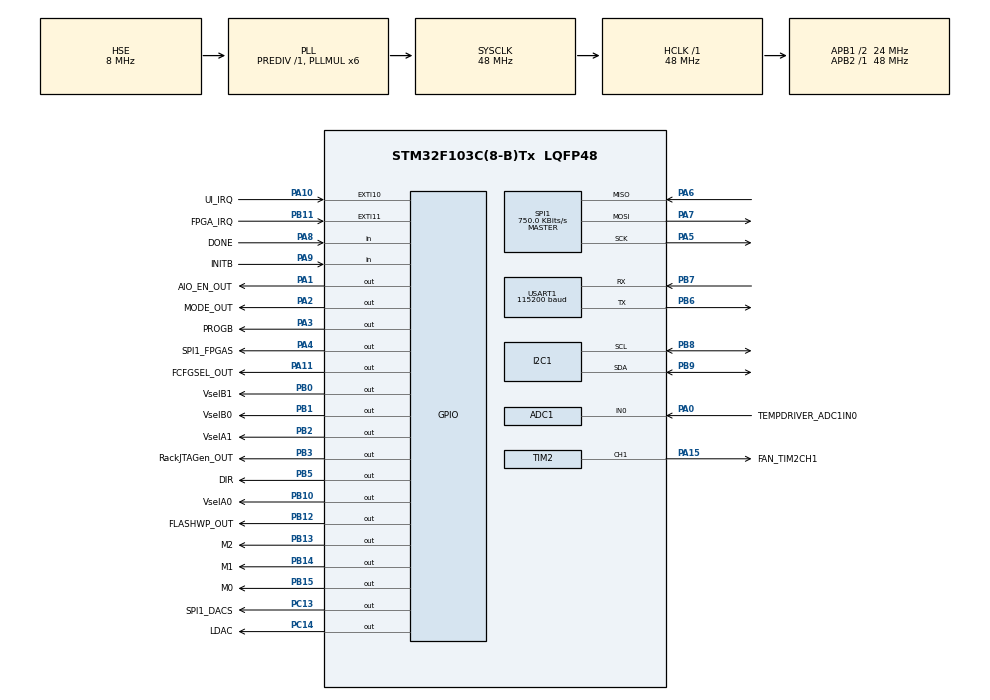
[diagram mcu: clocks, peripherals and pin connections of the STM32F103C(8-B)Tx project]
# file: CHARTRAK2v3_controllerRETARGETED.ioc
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ADC1.Channel-0\#ChannelRegularConversion=ADC_CHANNEL_0
ADC1.Channel-1\#ChannelRegularConversion=ADC_CHANNEL_TEMPSENSOR
ADC1.Channel-2\#ChannelRegularConversion=ADC_CHANNEL_VREFINT
ADC1.ExternalTrigConv=ADC_EXTERNALTRIGCONV_T3_TRGO
ADC1.NbrOfConversion=3
ADC1.NbrOfConversionFlag=1
ADC1.Rank-0\#ChannelRegularConversion=1
ADC1.Rank-1\#ChannelRegularConversion=2
ADC1.Rank-2\#ChannelRegularConversion=3
ADC1.SamplingTime-0\#ChannelRegularConversion=ADC_SAMPLETIME_239CYCLES_5
ADC1.SamplingTime-1\#ChannelRegularConversion=ADC_SAMPLETIME_239CYCLES_5
ADC1.SamplingTime-2\#ChannelRegularConversion=ADC_SAMPLETIME_239CYCLES_5
ADC1.master=1
Dma.ADC1.0.Direction=DMA_PERIPH_TO_MEMORY
Dma.ADC1.0.Instance=DMA1_Channel1
Dma.ADC1.0.MemDataAlignment=DMA_MDATAALIGN_WORD
Dma.ADC1.0.MemInc=DMA_MINC_ENABLE
Dma.ADC1.0.Mode=DMA_NORMAL
Dma.ADC1.0.PeriphDataAlignment=DMA_PDATAALIGN_WORD
Dma.ADC1.0.PeriphInc=DMA_PINC_DISABLE
Dma.ADC1.0.Priority=DMA_PRIORITY_LOW
Dma.Request0=ADC1
Dma.Request1=USART1_RX
Dma.USART1_RX.1.Direction=DMA_PERIPH_TO_MEMORY
Dma.USART1_RX.1.Instance=DMA1_Channel5
Dma.USART1_RX.1.MemDataAlignment=DMA_MDATAALIGN_BYTE
Dma.USART1_RX.1.MemInc=DMA_MINC_ENABLE
Dma.USART1_RX.1.Mode=DMA_NORMAL
Dma.USART1_RX.1.PeriphDataAlignment=DMA_PDATAALIGN_BYTE
Dma.USART1_RX.1.PeriphInc=DMA_PINC_DISABLE
Dma.USART1_RX.1.Priority=DMA_PRIORITY_LOW
Mcu.Family=STM32F1
Mcu.Name=STM32F103C(8-B)Tx
Mcu.Package=LQFP48
NVIC.ADC1_2_IRQn=true\:0\:0\:false\:false\:true\:true\:true\:true
NVIC.DMA1_Channel1_IRQn=true\:0\:0\:false\:false\:true\:false\:true\:true
NVIC.DMA1_Channel5_IRQn=true\:0\:0\:false\:false\:true\:false\:true\:true
NVIC.PriorityGroup=NVIC_PRIORITYGROUP_4
NVIC.TIM4_IRQn=true\:0\:0\:false\:false\:true\:true\:true\:true
NVIC.USART1_IRQn=true\:1\:0\:true\:false\:true\:true\:true\:true
PA0-WKUP.GPIO_Label=TEMPDRIVER_ADC1IN0
PA0-WKUP.Signal=ADCx_IN0
PA1.GPIO_Label=AIO_EN_OUT
PA1.Signal=GPIO_Output
PA10.GPIO_Label=UI_IRQ
PA10.Signal=GPXTI10
PA11.GPIO_Label=FCFGSEL_OUT
PA11.Signal=GPIO_Output
PA13.Mode=Serial_Wire
PA13.Signal=SYS_JTMS-SWDIO
PA14.Mode=Serial_Wire
PA14.Signal=SYS_JTCK-SWCLK
PA15.GPIO_Label=FAN_TIM2CH1
PA15.Signal=S_TIM2_CH1_ETR
PA2.GPIO_Label=MODE_OUT
PA2.Signal=GPIO_Output
PA3.GPIO_Label=PROGB
PA3.Signal=GPIO_Output
PA4.GPIO_Label=SPI1_FPGAS
PA4.Signal=GPIO_Output
PA5.Mode=Full_Duplex_Master
PA5.Signal=SPI1_SCK
PA6.Mode=Full_Duplex_Master
PA6.Signal=SPI1_MISO
PA7.Mode=Full_Duplex_Master
PA7.Signal=SPI1_MOSI
PA8.GPIO_Label=DONE
PA8.Signal=GPIO_Input
PA9.GPIO_Label=INITB
PA9.Signal=GPIO_Input
PB0.GPIO_Label=VselB1
PB0.Signal=GPIO_Output
PB1.GPIO_Label=VselB0
PB1.Signal=GPIO_Output
PB10.GPIO_Label=VselA0
PB10.Signal=GPIO_Output
PB11.GPIO_Label=FPGA_IRQ
PB11.Signal=GPXTI11
PB12.GPIO_Label=FLASHWP_OUT
PB12.Signal=GPIO_Output
PB13.GPIO_Label=M2
PB13.Signal=GPIO_Output
PB14.GPIO_Label=M1
PB14.Signal=GPIO_Output
PB15.GPIO_Label=M0
PB15.Signal=GPIO_Output
PB2.GPIO_Label=VselA1
PB2.Signal=GPIO_Output
PB3.GPIO_Label=RackJTAGen_OUT
PB3.Signal=GPIO_Output
PB5.GPIO_Label=DIR
PB5.Signal=GPIO_Output
PB6.Mode=Asynchronous
PB6.Signal=USART1_TX
PB7.Mode=Asynchronous
PB7.Signal=USART1_RX
PB8.Mode=I2C
PB8.Signal=I2C1_SCL
PB9.Mode=I2C
PB9.Signal=I2C1_SDA
PC13-TAMPER-RTC.GPIO_Label=SPI1_DACS
PC13-TAMPER-RTC.Signal=GPIO_Output
PC14-OSC32_IN.GPIO_Label=LDAC
PC14-OSC32_IN.Signal=GPIO_Output
PD0-OSC_IN.Mode=HSE-External-Oscillator
PD0-OSC_IN.Signal=RCC_OSC_IN
PD1-OSC_OUT.Mode=HSE-External-Oscillator
PD1-OSC_OUT.Signal=RCC_OSC_OUT
ProjectManager.HeapSize=0x200
ProjectManager.StackSize=0x400
ProjectManager.TargetToolchain=STM32CubeIDE
RCC.ADCPresc=RCC_ADCPCLK2_DIV8
RCC.AHBFreq_Value=48000000
RCC.APB1CLKDivider=RCC_HCLK_DIV2
RCC.APB1Freq_Value=24000000
RCC.APB1TimFreq_Value=48000000
RCC.APB2Freq_Value=48000000
RCC.APB2TimFreq_Value=48000000
RCC.HCLKFreq_Value=48000000
RCC.PLLMUL=RCC_PLL_MUL6
RCC.PLLSourceVirtual=RCC_PLLSOURCE_HSE
RCC.SYSCLKFreq_VALUE=48000000
RCC.SYSCLKSource=RCC_SYSCLKSOURCE_PLLCLK
RCC.USBFreq_Value=48000000
SH.ADCx_IN0.0=ADC1_IN0,IN0
SH.S_TIM2_CH1_ETR.0=TIM2_CH1,PWM Generation1 CH1
SPI1.BaudRatePrescaler=SPI_BAUDRATEPRESCALER_64
SPI1.CLKPolarity=SPI_POLARITY_HIGH
SPI1.CalculateBaudRate=750.0 KBits/s
SPI1.Direction=SPI_DIRECTION_2LINES
SPI1.FirstBit=SPI_FIRSTBIT_MSB
SPI1.Mode=SPI_MODE_MASTER
SPI1.VirtualType=VM_MASTER
TIM2.Channel-PWM\ Generation1\ CH1=TIM_CHANNEL_1
TIM3.Channel-PWM\ Generation4\ No\ Output=TIM_CHANNEL_4
TIM3.Period=100
TIM3.Prescaler=48000-1
TIM3.TIM_MasterOutputTrigger=TIM_TRGO_UPDATE
TIM4.Period=50-1
TIM4.Prescaler=48000-1
USART1.BaudRate=115200
USART1.VirtualMode=VM_ASYNC
VP_ADC1_TempSens_Input.Mode=IN-TempSens
VP_ADC1_Vref_Input.Mode=IN-Vrefint
VP_TIM3_VS_no_output4.Mode=PWM Generation4 No Output
VP_TIM4_VS_ClockSourceINT.Mode=Internal
board=custom

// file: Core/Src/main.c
/* USER CODE BEGIN Header */
/**
  ******************************************************************************
  * @file           : main.c
  * @brief          : Main program body
  ******************************************************************************
  * @attention
  *
  * Copyright (c) 2024 STMicroelectronics.
  * All rights reserved.
  *
  * This software is licensed under terms that can be found in the LICENSE file
  * in the root directory of this software component.
  * If no LICENSE file comes with this software, it is provided AS-IS.
  *
  ******************************************************************************
  */
/* USER CODE END Header */
#include "main.h"

ADC_HandleTypeDef hadc1;
DMA_HandleTypeDef hdma_adc1;

I2C_HandleTypeDef hi2c1;

SPI_HandleTypeDef hspi1;

TIM_HandleTypeDef htim2;
TIM_HandleTypeDef htim3;
TIM_HandleTypeDef htim4;

UART_HandleTypeDef huart1;
DMA_HandleTypeDef hdma_usart1_rx;

/* USER CODE BEGIN PV */
AWG_struct AWG1;
Noise_struct NOISE1;
CHT_struct CHT1;
LOLAconfig_struct LOLA1;
HFADC_struct HFADC1;
HFDAC_struct HFDAC1;
OSC_struct OSC1;

uint8_t RackID = 0;

uint32_t adc1_data[3] = {0};

float MCUtemp = 25.0, DriverTemp = 25.0;

#define MaxI2Cdevices	20
uint8_t I2Cdevices[MaxI2Cdevices] = {0};
/* USER CODE END PV */

void SystemClock_Config(void);
static void MX_GPIO_Init(void);
static void MX_DMA_Init(void);
static void MX_ADC1_Init(void);
static void MX_I2C1_Init(void);
static void MX_SPI1_Init(void);
static void MX_USART1_UART_Init(void);
static void MX_TIM4_Init(void);
static void MX_TIM2_Init(void);
static void MX_TIM3_Init(void);

int main(void)
{

  /* MCU Configuration--------------------------------------------------------*/

  /* Reset of all peripherals, Initializes the Flash interface and the Systick. */
  HAL_Init();

  /* Configure the system clock */
  SystemClock_Config();

  /* Initialize all configured peripherals */
  MX_GPIO_Init();
  MX_DMA_Init();
  MX_ADC1_Init();
  MX_I2C1_Init();
  MX_SPI1_Init();
  MX_USART1_UART_Init();
  MX_TIM4_Init();
  MX_TIM2_Init();
  MX_TIM3_Init();
  /* USER CODE BEGIN 2 */

  	//GPIO SETUP
    HAL_GPIO_WritePin(SPI1_DACS_GPIO_Port, SPI1_DACS_Pin, 0);
    HAL_GPIO_WritePin(SPI1_FPGAS_GPIO_Port, SPI1_FPGAS_Pin, 1);
    HAL_GPIO_WritePin(LDAC_GPIO_Port, LDAC_Pin, 0);
    HAL_GPIO_WritePin(DIR_GPIO_Port, DIR_Pin, 0);

    // ADC board expander setup
    TCA_Init(0b0100001, hi2c1);

    TCA_PinMode(P07, 0);
    TCA_PinMode(P11, 0);
    TCA_PinMode(P12, 0);

    TCA_WritePin(P07, 1);
    TCA_WritePin(P11, 0);
    TCA_WritePin(P12, 0);

    // High-speed DAC setup
    DACREF(0.0);
    DACOFFS(0.0);

    // High-speed ADC setup
    ADCREF(1.2);
    ADCOFFS(0.0);

    //HAL_TIM_Base_Start_IT(&htim4);

    // system functions setup
    Function SYSfunctions[] = { {.name = "ID", .run = SCPIC_SYS_ID},
    							{.name = "STATUS", .run = SCPIC_SYS_STATUS},
								{.name = "TEMP", .run = SCPIC_SYS_TEMP},
       							{.name = "RESET", .run = SCPIC_SYS_RESET},
   								{.name = "APPLY", .run = SCPIC_SYS_APPLY}	};

    Class SYSclass = { .name = "SYS", .functions = SYSfunctions, .functionsLength = 5 };
    addClass(&SYSclass, 0);

    // output functions setup
    Function OUTfunctions[] = { {.name = "MAXAMPU", .run = SCPIC_OUT_MAXAMPU},
    							{.name = "MAXAMPI", .run = SCPIC_OUT_MAXAMPI},
								{.name = "OFFSU", .run = SCPIC_OUT_OFFSU},
								{.name = "OFFSI", .run = SCPIC_OUT_OFFSI},
           						{.name = "MODE", .run = SCPIC_OUT_MODE},
								{.name = "EN", .run = SCPIC_OUT_EN} };

    Class OUTclass = { .name = "OUT", .functions = OUTfunctions, .functionsLength = 6 };
    addClass(&OUTclass, 0);

    //SCPI setup
    Function Lolafunctions[] = { {.name = "FID", .run = SCPIC_FID},
								 {.name = "INIT", .run = SCPIC_INIT}	};

    Class Lolaclass = { .name = "LOLA", .functions = Lolafunctions, .functionsLength = 2 };
    addClass(&Lolaclass, 0);

    // Digital Voltmeter setup
    Function DVMfunctions[] = { {.name = "RAW", .run = SCPIC_DVM_RAW},
    							{.name = "VAL", .run = SCPIC_DVM_VAL}	};

    Class DVMclass = { .name = "DVM", .functions = DVMfunctions, .functionsLength = 2 };
    addClass(&DVMclass, 0);

    Function AWGfunctions[] = { {.name = "AMPU", .run = SCPIC_AWG_AMPU},
    							{.name = "AMPI", .run = SCPIC_AWG_AMPI},
    							{.name = "FREQ", .run = SCPIC_AWG_FREQ},
								{.name = "DC", .run = SCPIC_AWG_DC},
								{.name = "WF", .run = SCPIC_AWG_WF} };

    Class AWGclass = { .name = "AWG", .functions = AWGfunctions, .functionsLength = 5 };
    addClass(&AWGclass, 0);

    //SimpleOS setup
    kernel_init(20); // max 20 tasks

    //SPARTAN3 SETUP
    LOLA1.Config = JTAG_Ext;
    LOLA1.Trials = 100;
    LOLA1.compatibleFirmwareID = 0xF103;

    //High frequency DAC setup
    HFDAC1.maxAmplitudeU_V = 0;
    HFDAC1.maxAmplitudeI_mA = 0;
    HFDAC1.offsetU_V = 0;
    HFDAC1.offsetI_mA = 0;
    HFDAC1.mode = Voltage_output;

    //Hight Frequency ADC setup
    HFADC1.ADCref = 2.5;
    HFADC1.OUT_MEASURING_OFFSET = 0;
    HFADC1.source = OUT;
    HFADC1.UIO_channel = 1;
    HFADC1.UIO_channelLetter = 'A';
    HFADC1.mode = Voltage_input;

    //Oscilloscope setup
    OSC1.prescaler = 1;
    OSC1.samplesAfterTrig = 1000;
    OSC1.trigMode = rising;
    OSC1.triggerLevel = 0;

    //CharTrak setup
    CHT1.characteristic = Open;
    CHT1.Uamp = 0;

    // Arbitrary waveform generator setup
    AWG1.waveform = Square;
    AWG1.Uavg = 0.0;
    AWG1.Iavg = 0.0;
    AWG1.Uamp = 0.0;
    AWG1.Iamp = 0.0;
    AWG1.DutyCycle = 50.0;
    AWG1.Freq = 10000.0;

    // Noise generator setup
    NOISE1.Enable = 1;
    NOISE1.Freq = 1000.0;
    NOISE1.Uamp = 0.0;
    NOISE1.Seed = 0x800f000f000f0001;

    //****************************************************** scan for I2C devices
    uint8_t I2Ccount = 0;
    for(uint8_t i=1; i<128; i++)
    {
    	if(HAL_I2C_IsDeviceReady(&hi2c1, (uint16_t)(i << 1), 3, 5) == HAL_OK)
    	{
    	    if(I2Ccount < MaxI2Cdevices)
    	    	I2Cdevices[I2Ccount++] = i;
    	    else
    	    	Error_Handler();
    	}
    }

    // Programmable power supply setup
    if(!PSUinit(0x60)) Error_Handler();
    PSUoutput(0);

    // ADC temperature measurement
   	HAL_TIM_Base_Start(&htim3); // Start trigger Source For ADC1
   	HAL_ADC_Start_DMA(&hadc1, adc1_data, 3);

   	// RS485 receive interrupt setup
   	sprintf(TXbuff, "Initializing...\r\n");
    RS485_Transmit(TXbuff);
    HAL_Delay(10);
    if(HAL_UARTEx_ReceiveToIdle_DMA(&huart1, (uint8_t*)RXbuff, RS485BUFFSIZE) != HAL_OK) Error_Handler();

   	// Initialize FPGA
    LOLA_CFGFlashWriteUnlock(&LOLA1);
    LOLA_Init(&LOLA1);

    //cfg of IN/OUT circuitry
    HFDAC_SET_ALL(&HFDAC1);
    HFADC_SET_ALL(&HFADC1);

    OSC_SET_ALL(&OSC1, &HFADC1);

    HFDAC_DIRECT_DATA(&HFDAC1, 0);
    LOLA_enable_features(ALL_EN, 0); // disable all features

    //NOISE_Load_param(NOISE1);

    //AWG_Load_Waveform(AWG1,NOISE1);

    //kernel_begin(); //////////////////////////////////// CODE DOESNT GET FURTHER

/*
    HFDAC1.maxAmplitudeU_V = 15.0;
    HFDAC_SET_MAX_AMPLITUDE(&HFDAC1);

    AWG1.Freq = 1000.0;
    AWG1.Uamp = 15.0;
    AWG1.waveform = Square;
    AWG1.DutyCycle = 40.0;
    AWG_Load_Waveform(&AWG1, &HFDAC1);*/

    //NOISE_Load_param(&NOISE1, &HFDAC1);
    //HFDAC_DIRECT_DATA(&HFDAC1, 10);
  /* USER CODE END 2 */

  /* Infinite loop */
  /* USER CODE BEGIN WHILE */
  while (1)
  {

	 /*int16_t DVM = DVM_GET_FILTERED_DATA_RAW(50);
	 sprintf(TXbuff, "%d\r\n", DVM);
	 RS485_Transmit(TXbuff);
	 HAL_Delay(10);*/

	 HAL_Delay(1000);
	 //HFDAC_DIRECT_DATA(&HFDAC1, 0);
	 HAL_Delay(1000);
	 //HFDAC_DIRECT_DATA(&HFDAC1, 3);

    /* USER CODE END WHILE */

  }
}

void SystemClock_Config(void)
{
  RCC_OscInitTypeDef RCC_OscInitStruct = {0};
  RCC_ClkInitTypeDef RCC_ClkInitStruct = {0};
  RCC_PeriphCLKInitTypeDef PeriphClkInit = {0};

  /** Initializes the RCC Oscillators according to the specified parameters
  * in the RCC_OscInitTypeDef structure.
  */
  RCC_OscInitStruct.OscillatorType = RCC_OSCILLATORTYPE_HSE;
  RCC_OscInitStruct.HSEState = RCC_HSE_ON;
  RCC_OscInitStruct.HSEPredivValue = RCC_HSE_PREDIV_DIV1;
  RCC_OscInitStruct.HSIState = RCC_HSI_ON;
  RCC_OscInitStruct.PLL.PLLState = RCC_PLL_ON;
  RCC_OscInitStruct.PLL.PLLSource = RCC_PLLSOURCE_HSE;
  RCC_OscInitStruct.PLL.PLLMUL = RCC_PLL_MUL6;
  if (HAL_RCC_OscConfig(&RCC_OscInitStruct) != HAL_OK)
  {
    Error_Handler();
  }

  /** Initializes the CPU, AHB and APB buses clocks
  */
  RCC_ClkInitStruct.ClockType = RCC_CLOCKTYPE_HCLK|RCC_CLOCKTYPE_SYSCLK
                              |RCC_CLOCKTYPE_PCLK1|RCC_CLOCKTYPE_PCLK2;
  RCC_ClkInitStruct.SYSCLKSource = RCC_SYSCLKSOURCE_PLLCLK;
  RCC_ClkInitStruct.AHBCLKDivider = RCC_SYSCLK_DIV1;
  RCC_ClkInitStruct.APB1CLKDivider = RCC_HCLK_DIV2;
  RCC_ClkInitStruct.APB2CLKDivider = RCC_HCLK_DIV1;

  if (HAL_RCC_ClockConfig(&RCC_ClkInitStruct, FLASH_LATENCY_1) != HAL_OK)
  {
    Error_Handler();
  }
  PeriphClkInit.PeriphClockSelection = RCC_PERIPHCLK_ADC;
  PeriphClkInit.AdcClockSelection = RCC_ADCPCLK2_DIV8;
  if (HAL_RCCEx_PeriphCLKConfig(&PeriphClkInit) != HAL_OK)
  {
    Error_Handler();
  }
}

static void MX_ADC1_Init(void)
{

  ADC_ChannelConfTypeDef sConfig = {0};

  /** Common config
  */
  hadc1.Instance = ADC1;
  hadc1.Init.ScanConvMode = ADC_SCAN_ENABLE;
  hadc1.Init.ContinuousConvMode = DISABLE;
  hadc1.Init.DiscontinuousConvMode = DISABLE;
  hadc1.Init.ExternalTrigConv = ADC_EXTERNALTRIGCONV_T3_TRGO;
  hadc1.Init.DataAlign = ADC_DATAALIGN_RIGHT;
  hadc1.Init.NbrOfConversion = 3;
  if (HAL_ADC_Init(&hadc1) != HAL_OK)
  {
    Error_Handler();
  }

  /** Configure Regular Channel
  */
  sConfig.Channel = ADC_CHANNEL_0;
  sConfig.Rank = ADC_REGULAR_RANK_1;
  sConfig.SamplingTime = ADC_SAMPLETIME_239CYCLES_5;
  if (HAL_ADC_ConfigChannel(&hadc1, &sConfig) != HAL_OK)
  {
    Error_Handler();
  }

  /** Configure Regular Channel
  */
  sConfig.Channel = ADC_CHANNEL_TEMPSENSOR;
  sConfig.Rank = ADC_REGULAR_RANK_2;
  if (HAL_ADC_ConfigChannel(&hadc1, &sConfig) != HAL_OK)
  {
    Error_Handler();
  }

  /** Configure Regular Channel
  */
  sConfig.Channel = ADC_CHANNEL_VREFINT;
  sConfig.Rank = ADC_REGULAR_RANK_3;
  if (HAL_ADC_ConfigChannel(&hadc1, &sConfig) != HAL_OK)
  {
    Error_Handler();
  }

}

static void MX_I2C1_Init(void)
{

  hi2c1.Instance = I2C1;
  hi2c1.Init.ClockSpeed = 100000;
  hi2c1.Init.DutyCycle = I2C_DUTYCYCLE_2;
  hi2c1.Init.OwnAddress1 = 0;
  hi2c1.Init.AddressingMode = I2C_ADDRESSINGMODE_7BIT;
  hi2c1.Init.DualAddressMode = I2C_DUALADDRESS_DISABLE;
  hi2c1.Init.OwnAddress2 = 0;
  hi2c1.Init.GeneralCallMode = I2C_GENERALCALL_DISABLE;
  hi2c1.Init.NoStretchMode = I2C_NOSTRETCH_DISABLE;
  if (HAL_I2C_Init(&hi2c1) != HAL_OK)
  {
    Error_Handler();
  }

}

static void MX_SPI1_Init(void)
{

  /* SPI1 parameter configuration*/
  hspi1.Instance = SPI1;
  hspi1.Init.Mode = SPI_MODE_MASTER;
  hspi1.Init.Direction = SPI_DIRECTION_2LINES;
  hspi1.Init.DataSize = SPI_DATASIZE_8BIT;
  hspi1.Init.CLKPolarity = SPI_POLARITY_HIGH;
  hspi1.Init.CLKPhase = SPI_PHASE_1EDGE;
  hspi1.Init.NSS = SPI_NSS_SOFT;
  hspi1.Init.BaudRatePrescaler = SPI_BAUDRATEPRESCALER_64;
  hspi1.Init.FirstBit = SPI_FIRSTBIT_MSB;
  hspi1.Init.TIMode = SPI_TIMODE_DISABLE;
  hspi1.Init.CRCCalculation = SPI_CRCCALCULATION_DISABLE;
  hspi1.Init.CRCPolynomial = 10;
  if (HAL_SPI_Init(&hspi1) != HAL_OK)
  {
    Error_Handler();
  }

}

static void MX_TIM2_Init(void)
{

  TIM_MasterConfigTypeDef sMasterConfig = {0};
  TIM_OC_InitTypeDef sConfigOC = {0};

  htim2.Instance = TIM2;
  htim2.Init.Prescaler = 0;
  htim2.Init.CounterMode = TIM_COUNTERMODE_UP;
  htim2.Init.Period = 65535;
  htim2.Init.ClockDivision = TIM_CLOCKDIVISION_DIV1;
  htim2.Init.AutoReloadPreload = TIM_AUTORELOAD_PRELOAD_DISABLE;
  if (HAL_TIM_PWM_Init(&htim2) != HAL_OK)
  {
    Error_Handler();
  }
  sMasterConfig.MasterOutputTrigger = TIM_TRGO_RESET;
  sMasterConfig.MasterSlaveMode = TIM_MASTERSLAVEMODE_DISABLE;
  if (HAL_TIMEx_MasterConfigSynchronization(&htim2, &sMasterConfig) != HAL_OK)
  {
    Error_Handler();
  }
  sConfigOC.OCMode = TIM_OCMODE_PWM1;
  sConfigOC.Pulse = 0;
  sConfigOC.OCPolarity = TIM_OCPOLARITY_HIGH;
  sConfigOC.OCFastMode = TIM_OCFAST_DISABLE;
  if (HAL_TIM_PWM_ConfigChannel(&htim2, &sConfigOC, TIM_CHANNEL_1) != HAL_OK)
  {
    Error_Handler();
  }
  HAL_TIM_MspPostInit(&htim2);

}

static void MX_TIM3_Init(void)
{

  TIM_MasterConfigTypeDef sMasterConfig = {0};
  TIM_OC_InitTypeDef sConfigOC = {0};

  htim3.Instance = TIM3;
  htim3.Init.Prescaler = 48000-1;
  htim3.Init.CounterMode = TIM_COUNTERMODE_UP;
  htim3.Init.Period = 100;
  htim3.Init.ClockDivision = TIM_CLOCKDIVISION_DIV1;
  htim3.Init.AutoReloadPreload = TIM_AUTORELOAD_PRELOAD_DISABLE;
  if (HAL_TIM_PWM_Init(&htim3) != HAL_OK)
  {
    Error_Handler();
  }
  sMasterConfig.MasterOutputTrigger = TIM_TRGO_UPDATE;
  sMasterConfig.MasterSlaveMode = TIM_MASTERSLAVEMODE_DISABLE;
  if (HAL_TIMEx_MasterConfigSynchronization(&htim3, &sMasterConfig) != HAL_OK)
  {
    Error_Handler();
  }
  sConfigOC.OCMode = TIM_OCMODE_PWM1;
  sConfigOC.Pulse = 0;
  sConfigOC.OCPolarity = TIM_OCPOLARITY_HIGH;
  sConfigOC.OCFastMode = TIM_OCFAST_DISABLE;
  if (HAL_TIM_PWM_ConfigChannel(&htim3, &sConfigOC, TIM_CHANNEL_4) != HAL_OK)
  {
    Error_Handler();
  }

}

static void MX_TIM4_Init(void)
{

  TIM_ClockConfigTypeDef sClockSourceConfig = {0};
  TIM_MasterConfigTypeDef sMasterConfig = {0};

  htim4.Instance = TIM4;
  htim4.Init.Prescaler = 48000-1;
  htim4.Init.CounterMode = TIM_COUNTERMODE_UP;
  htim4.Init.Period = 50-1;
  htim4.Init.ClockDivision = TIM_CLOCKDIVISION_DIV1;
  htim4.Init.AutoReloadPreload = TIM_AUTORELOAD_PRELOAD_DISABLE;
  if (HAL_TIM_Base_Init(&htim4) != HAL_OK)
  {
    Error_Handler();
  }
  sClockSourceConfig.ClockSource = TIM_CLOCKSOURCE_INTERNAL;
  if (HAL_TIM_ConfigClockSource(&htim4, &sClockSourceConfig) != HAL_OK)
  {
    Error_Handler();
  }
  sMasterConfig.MasterOutputTrigger = TIM_TRGO_RESET;
  sMasterConfig.MasterSlaveMode = TIM_MASTERSLAVEMODE_DISABLE;
  if (HAL_TIMEx_MasterConfigSynchronization(&htim4, &sMasterConfig) != HAL_OK)
  {
    Error_Handler();
  }

}

static void MX_USART1_UART_Init(void)
{

  huart1.Instance = USART1;
  huart1.Init.BaudRate = 115200;
  huart1.Init.WordLength = UART_WORDLENGTH_8B;
  huart1.Init.StopBits = UART_STOPBITS_1;
  huart1.Init.Parity = UART_PARITY_NONE;
  huart1.Init.Mode = UART_MODE_TX_RX;
  huart1.Init.HwFlowCtl = UART_HWCONTROL_NONE;
  huart1.Init.OverSampling = UART_OVERSAMPLING_16;
  if (HAL_UART_Init(&huart1) != HAL_OK)
  {
    Error_Handler();
  }

}

static void MX_DMA_Init(void)
{

  /* DMA controller clock enable */
  __HAL_RCC_DMA1_CLK_ENABLE();

  /* DMA interrupt init */
  /* DMA1_Channel1_IRQn interrupt configuration */
  HAL_NVIC_SetPriority(DMA1_Channel1_IRQn, 0, 0);
  HAL_NVIC_EnableIRQ(DMA1_Channel1_IRQn);
  /* DMA1_Channel5_IRQn interrupt configuration */
  HAL_NVIC_SetPriority(DMA1_Channel5_IRQn, 0, 0);
  HAL_NVIC_EnableIRQ(DMA1_Channel5_IRQn);

}

static void MX_GPIO_Init(void)
{
  GPIO_InitTypeDef GPIO_InitStruct = {0};

  /* GPIO Ports Clock Enable */
  __HAL_RCC_GPIOC_CLK_ENABLE();
  __HAL_RCC_GPIOD_CLK_ENABLE();
  __HAL_RCC_GPIOA_CLK_ENABLE();
  __HAL_RCC_GPIOB_CLK_ENABLE();

  /*Configure GPIO pin Output Level */
  HAL_GPIO_WritePin(GPIOC, SPI1_DACS_Pin|LDAC_Pin, GPIO_PIN_RESET);

  /*Configure GPIO pin Output Level */
  HAL_GPIO_WritePin(GPIOA, AIO_EN_OUT_Pin|MODE_OUT_Pin|PROGB_Pin|SPI1_FPGAS_Pin
                          |FCFGSEL_OUT_Pin, GPIO_PIN_RESET);

  /*Configure GPIO pin Output Level */
  HAL_GPIO_WritePin(GPIOB, VselB1_Pin|VselB0_Pin|VselA1_Pin|VselA0_Pin
                          |FLASHWP_OUT_Pin|M2_Pin|M1_Pin|M0_Pin
                          |RackJTAGen_OUT_Pin|DIR_Pin, GPIO_PIN_RESET);

  /*Configure GPIO pins : SPI1_DACS_Pin LDAC_Pin */
  GPIO_InitStruct.Pin = SPI1_DACS_Pin|LDAC_Pin;
  GPIO_InitStruct.Mode = GPIO_MODE_OUTPUT_PP;
  GPIO_InitStruct.Pull = GPIO_NOPULL;
  GPIO_InitStruct.Speed = GPIO_SPEED_FREQ_LOW;
  HAL_GPIO_Init(GPIOC, &GPIO_InitStruct);

  /*Configure GPIO pins : AIO_EN_OUT_Pin MODE_OUT_Pin PROGB_Pin SPI1_FPGAS_Pin
                           FCFGSEL_OUT_Pin */
  GPIO_InitStruct.Pin = AIO_EN_OUT_Pin|MODE_OUT_Pin|PROGB_Pin|SPI1_FPGAS_Pin
                          |FCFGSEL_OUT_Pin;
  GPIO_InitStruct.Mode = GPIO_MODE_OUTPUT_PP;
  GPIO_InitStruct.Pull = GPIO_NOPULL;
  GPIO_InitStruct.Speed = GPIO_SPEED_FREQ_LOW;
  HAL_GPIO_Init(GPIOA, &GPIO_InitStruct);

  /*Configure GPIO pins : VselB1_Pin VselB0_Pin VselA1_Pin VselA0_Pin
                           FLASHWP_OUT_Pin M2_Pin M1_Pin M0_Pin
                           RackJTAGen_OUT_Pin DIR_Pin */
  GPIO_InitStruct.Pin = VselB1_Pin|VselB0_Pin|VselA1_Pin|VselA0_Pin
                          |FLASHWP_OUT_Pin|M2_Pin|M1_Pin|M0_Pin
                          |RackJTAGen_OUT_Pin|DIR_Pin;
  GPIO_InitStruct.Mode = GPIO_MODE_OUTPUT_PP;
  GPIO_InitStruct.Pull = GPIO_NOPULL;
  GPIO_InitStruct.Speed = GPIO_SPEED_FREQ_LOW;
  HAL_GPIO_Init(GPIOB, &GPIO_InitStruct);

  /*Configure GPIO pin : FPGA_IRQ_Pin */
  GPIO_InitStruct.Pin = FPGA_IRQ_Pin;
  GPIO_InitStruct.Mode = GPIO_MODE_IT_RISING;
  GPIO_InitStruct.Pull = GPIO_NOPULL;
  HAL_GPIO_Init(FPGA_IRQ_GPIO_Port, &GPIO_InitStruct);

  /*Configure GPIO pins : DONE_Pin INITB_Pin */
  GPIO_InitStruct.Pin = DONE_Pin|INITB_Pin;
  GPIO_InitStruct.Mode = GPIO_MODE_INPUT;
  GPIO_InitStruct.Pull = GPIO_NOPULL;
  HAL_GPIO_Init(GPIOA, &GPIO_InitStruct);

  /*Configure GPIO pin : UI_IRQ_Pin */
  GPIO_InitStruct.Pin = UI_IRQ_Pin;
  GPIO_InitStruct.Mode = GPIO_MODE_IT_RISING;
  GPIO_InitStruct.Pull = GPIO_NOPULL;
  HAL_GPIO_Init(UI_IRQ_GPIO_Port, &GPIO_InitStruct);

}

/* USER CODE BEGIN 4 */
void HAL_UARTEx_RxEventCallback(UART_HandleTypeDef *huart, uint16_t Size)
{
	 SCPI_EXECUTE();
	 RS485_Transmit(TXbuff);
	 if(HAL_UARTEx_ReceiveToIdle_DMA(&huart1, (uint8_t*)RXbuff, RS485BUFFSIZE) != HAL_OK) Error_Handler();
}

#define filtCoef 0.9

void HAL_ADC_ConvCpltCallback(ADC_HandleTypeDef* hadc)
{
	float V_Ref = (float)((V_REF_INT * 4095.0) / adc1_data[0]); // get internal voltage reference

	// MCU internal temperature calculation
	float V_Sense = (float)(adc1_data[2] * V_Ref) / 4095.0;
	float tmp_MCUtemp = (((V_AT_25C - V_Sense) * 1000.0) / AVG_SLOPE) + 25.0;

	// Driver temperature calculation
	V_Sense = (float)(adc1_data[1] * V_Ref) / 4095.0;
	float Rntc = (V_Sense * DRIVER_NTCPULLUP)/(3.3 - V_Sense);
	float tmp_DriverTemp = 1/(logf(Rntc/DRIVER_NTCR25)/DRIVER_NTCB + 1/298.15) - 273.15;

	// IIR filter
	DriverTemp = filtCoef*DriverTemp + (1-filtCoef)*tmp_DriverTemp;
	MCUtemp = filtCoef*MCUtemp + (1-filtCoef)*tmp_MCUtemp;

	HAL_ADC_Start_DMA(&hadc1, adc1_data, 3);
}
/* USER CODE END 4 */

void Error_Handler(void)
{
  __disable_irq();
  while (1)
  {
  }
}
